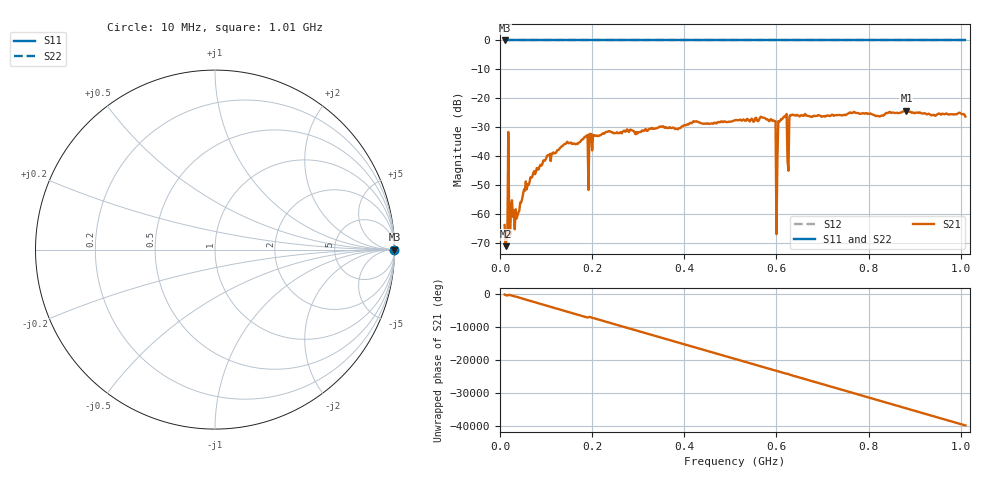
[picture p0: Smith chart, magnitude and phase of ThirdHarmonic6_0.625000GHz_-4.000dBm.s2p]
! 8/15/2025 8:34:17 PM
! C:\ANRITSUVNA\TEMP\TEMP.S2P
! CHANNEL.1
! TR.MEASUREMENT
! RAW.DATA
! RF.CORRECTION.OFF
! AVERAGING.OFF
! IF.BANDWIDTH: 5KHZ
! SWEEPTYPE:  FREQ.SWEEP(Linear)
! Reference Plane Port Info
! PORT:  PORT1  PORT2
! DISTANCE:  0  m  0  m
! TIME:  0  s  0  s
! PHASE.OFFSET:  0  deg.  0  deg.
! LOSS:  0  dB  0  dB
! REF.LOSS:  0  dB  0  dB
! REF.FREQ:  0  Hz  0  Hz
! Power Info
! POWER:  -20  dBm  -20  dBm
! EFF.POWER:  -20  dBm  -20  dBm
! SOURCE.ATTEN:  0  dB  0  dB
! TEST.ATTEN:  0  dB  0  dB
# GHZ S RI R 50.0
! FREQ.GHZ  S11RE  S11IM  S21RE  S21IM  S12RE  S12IM  S22RE  S22IM
!; PortSelection: Port_12
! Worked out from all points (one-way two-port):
!   501 points, 10 MHz to 1.01 GHz, reference 50 ohm
!   highest |S21| = -24.21 dB at 882 MHz (marker M1); lowest = -71.0 dB at 12 MHz (marker M2)
!   lowest |S11| = 0.0 dB at 10 MHz (marker M3)
!   |S11| at or under -10 dB: nowhere
!   |S22| runs from 0.0 to 0.0 dB; largest |S21 - S12| = 1.1
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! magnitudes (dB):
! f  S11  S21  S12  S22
! 10 MHz  0.0  -63.7  0.0  0.0
! 12 MHz  0.0  -71.0  0.0  0.0
! 14 MHz  0.0  -68.5  0.0  0.0
! 22 MHz  0.0  -67.3  0.0  0.0
! 24 MHz  0.0  -57.2  0.0  0.0
! 36 MHz  0.0  -61.5  0.0  0.0
! 56 MHz  0.0  -48.7  0.0  0.0
! 104 MHz  0.0  -39.6  0.0  0.0
! 178 MHz  0.0  -34.2  0.0  0.0
! 344 MHz  0.0  -30.0  0.0  0.0
! 510 MHz  0.0  -27.6  0.0  0.0
! 594 MHz  0.0  -27.6  0.0  0.0
! 596 MHz  0.0  -27.8  0.0  0.0
! 602 MHz  0.0  -41.0  0.0  0.0
! 608 MHz  0.0  -27.7  0.0  0.0
! 618 MHz  0.0  -26.4  0.0  0.0
! 628 MHz  0.0  -26.4  0.0  0.0
! 632 MHz  0.0  -25.9  0.0  0.0
! 678 MHz  0.0  -26.4  0.0  0.0
! 844 MHz  0.0  -24.8  0.0  0.0
! 882 MHz  0.0  -24.2  0.0  0.0
! 1.01 GHz  0.0  -26.3  0.0  0.0
